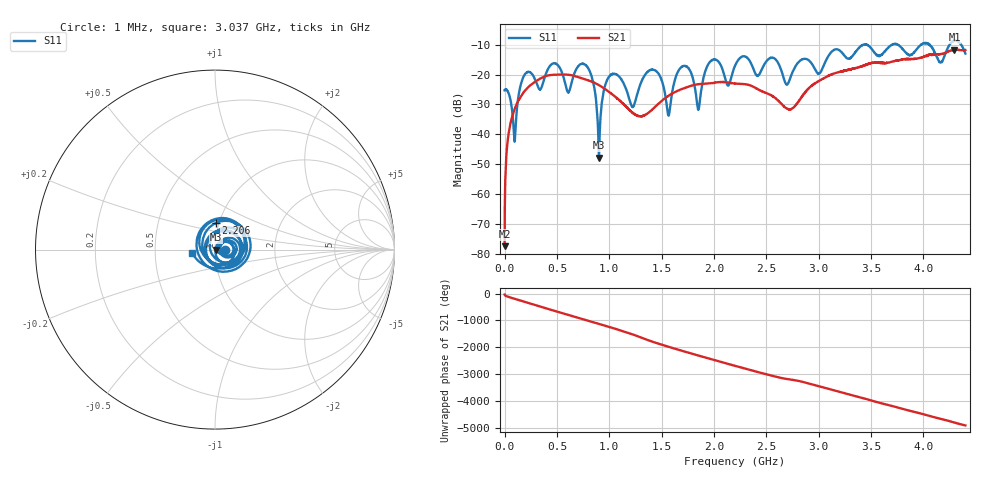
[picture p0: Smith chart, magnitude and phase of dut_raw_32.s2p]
!Created with skrf (http://scikit-rf.org).
# Hz S RI R 50.0
!freq ReS11 ImS11 ReS21 ImS21 ReS12 ImS12 ReS22 ImS22
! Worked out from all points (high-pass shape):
!   4400 points, 1 MHz to 4.4 GHz, reference 50 ohm
!   highest |S21| = -11.65 dB at 4.295 GHz (marker M1); lowest = -77.4 dB at 1 MHz (marker M2)
!   |S21| within 3 dB of the highest: 3.936845 GHz to 3.937359 GHz (514 kHz wide, 0.0131 % of centre); 3.94 GHz to end of sweep
!   lowest |S11| = -47.9 dB at 902 MHz (marker M3), VSWR 1.01, Z = 50.4 - j0.0392 ohm
!   |S11| at or under -10 dB: start of sweep to 3.425 GHz; 3.455 GHz to 3.7 GHz (244.9 MHz wide, 6.85 % of centre); 3.754 GHz to 3.977 GHz (222.8 MHz wide, 5.76 % of centre)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
!   S12 and S22 are empty: the file has one direction only
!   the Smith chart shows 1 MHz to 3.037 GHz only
!   S11 on the Smith chart (normalised r, x): 1 MHz: 1.12, +0.00; 2.206 GHz: 0.96, +0.29; 3.037 GHz: 0.77, -0.03
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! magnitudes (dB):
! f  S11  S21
! 1 MHz  -25.3  -77.4
! 40 MHz  -26.3  -39.6
! 95 MHz  -42.3  -31.7
! 141 MHz  -25.6  -28.3
! 735 MHz  -16.4  -21.2
! 834 MHz  -20.8  -22.4
! 902 MHz  -47.9  -23.6
! 1.012 GHz  -20.2  -26.2
! 1.223 GHz  -30.8  -32.8
! 1.468 GHz  -19.6  -29.9
! 1.566 GHz  -33.8  -27.1
! 1.695 GHz  -17.3  -24.8
! 1.85 GHz  -31.7  -23.2
! 1.966 GHz  -15.6  -22.9
! 2.201 GHz  -17.0  -23.0
! 2.206 GHz  -16.7  -23.0
! 2.719 GHz  -22.1  -31.7
! 2.934 GHz  -16.4  -23.7
! 3.037 GHz  -17.8  -21.4
! 3.667 GHz  -10.9  -16.0
! 4.295 GHz  -8.7  -11.7
! 4.4 GHz  -13.0  -11.8
